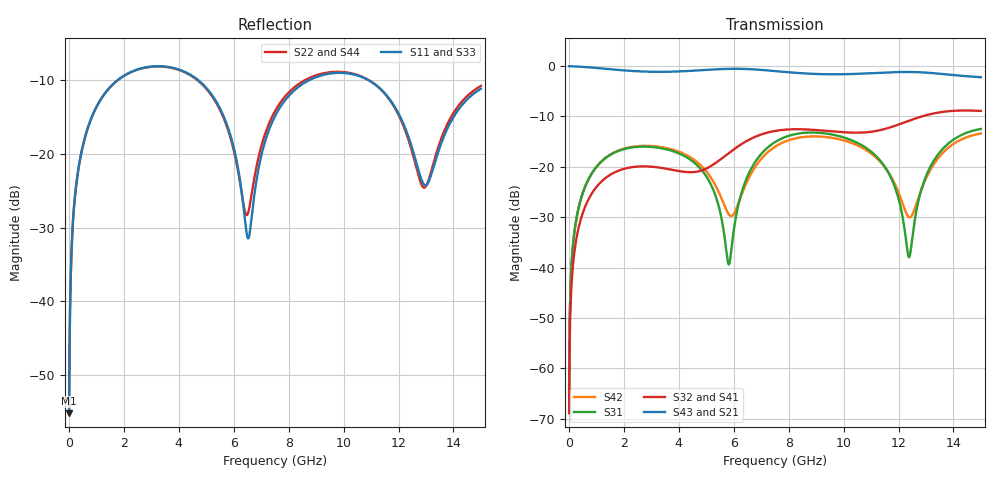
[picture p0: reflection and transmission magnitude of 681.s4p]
! Created with skrf 1.8.0 (http://scikit-rf.org).
# GHz S RI R 50.0
!freq ReS11 ImS11 ReS12 ImS12 ReS13 ImS13
! ReS14 ImS14
! ReS21 ImS21 ReS22 ImS22 ReS23 ImS23
! ReS24 ImS24
! ReS31 ImS31 ReS32 ImS32 ReS33 ImS33
! ReS34 ImS34
! ReS41 ImS41 ReS42 ImS42 ReS43 ImS43
! ReS44 ImS44
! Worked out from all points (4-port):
!   2499 points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, 5 MHz to 15 GHz, reference 50 ohm
!   strongest paths, dB at 5 MHz, 3.476 GHz, 7.19 GHz, 11.1 GHz, 15 GHz:
!     S43: 0.0, -1.1, -0.8, -1.4, -2.2
!     S21: 0.0, -1.1, -0.8, -1.4, -2.2
!     S32: -68.9, -20.3, -13.2, -13.0, -8.9
!     S41: -68.9, -20.4, -13.3, -13.0, -9.0
!     S31: -64.9, -16.4, -16.4, -17.4, -12.5
!     S42: -64.9, -16.2, -17.3, -17.7, -13.4
!   lowest |S11| = -55.2 dB at 5 MHz (marker M1), VSWR 1.00, Z = 50.1 + j0.105 ohm
!   |S11| at or under -10 dB: start of sweep to 1.774 GHz; 4.705 GHz to 8.75 GHz (4.046 GHz wide, 60.1 % of centre); 10.9 GHz to end of sweep
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0.005  0.00138 0.00105  0.9986 -0.0027  6.94e-05 0.000567  -6.74e-05 -0.000352
       0.9986 -0.0027  0.00138 0.00105  -6.74e-05 -0.000352  6.94e-05 0.000567
       6.94e-05 0.000567  -6.74e-05 -0.000352  0.00138 0.00105  0.9986 -0.0027
       -6.74e-05 -0.000352  6.94e-05 0.000567  0.9986 -0.0027  0.00138 0.00105
0.3626511  0.0226 0.08  0.9689 -0.1943  0.0107 0.0392  -0.00895 -0.0241
           0.9689 -0.1943  0.0226 0.08  -0.00896 -0.0241  0.011 0.0391
           0.0107 0.0392  -0.00896 -0.0241  0.0226 0.08  0.9689 -0.1943
           -0.00895 -0.0241  0.011 0.0391  0.9689 -0.1943  0.0226 0.08
1.619545  0.2318 0.1884  0.6283 -0.6788  0.1144 0.0755  -0.0849 -0.0191
          0.6283 -0.6788  0.2305 0.189  -0.085 -0.0189  0.1183 0.0711
          0.1144 0.0755  -0.085 -0.0189  0.2316 0.1884  0.6283 -0.6789
          -0.0849 -0.0191  0.1183 0.0711  0.6283 -0.6789  0.2306 0.1889
6.496457  0.0262 -0.00744  -0.9335 -0.057  0.0272 0.0754  -0.00814 0.182
          -0.9335 -0.057  0.0386 0.00209  -0.00442 0.1822  -0.0191 0.0701
          0.0272 0.0754  -0.00442 0.1822  0.0268 -0.00563  -0.9336 -0.0564
          -0.00814 0.182  -0.0191 0.0701  -0.9336 -0.0564  0.0377 0.00434
10.54189  0.325 -0.0943  0.172 0.8218  0.13 -0.1111  0.1917 -0.0998
          0.172 0.8218  0.3241 -0.1059  0.1898 -0.1082  0.1271 -0.0999
          0.13 -0.1111  0.1898 -0.1082  0.3251 -0.0926  0.1708 0.8217
          0.1917 -0.0998  0.1271 -0.0999  0.1708 0.8217  0.3266 -0.1069
12.38641  0.0853 -0.0935  0.7793 0.3965  -0.0127 0.000361  0.1287 -0.2567
          0.7793 0.3965  0.08 -0.0904  0.1176 -0.2621  -0.0312 -0.00537
          -0.0127 0.000361  0.1176 -0.2621  0.0855 -0.0924  0.7787 0.3979
          0.1287 -0.2567  -0.0312 -0.00537  0.7787 0.3979  0.0795 -0.0894
15  0.2546 0.1083  0.5563 -0.5438  0.2354 0.0323  -0.2937 -0.2
    0.5563 -0.5438  0.2681 0.108  -0.3056 -0.1888  0.2083 0.05
    0.2354 0.0323  -0.3056 -0.1888  0.2519 0.1139  0.5566 -0.5411
    -0.2937 -0.2  0.2083 0.05  0.5566 -0.5411  0.2778 0.1114
